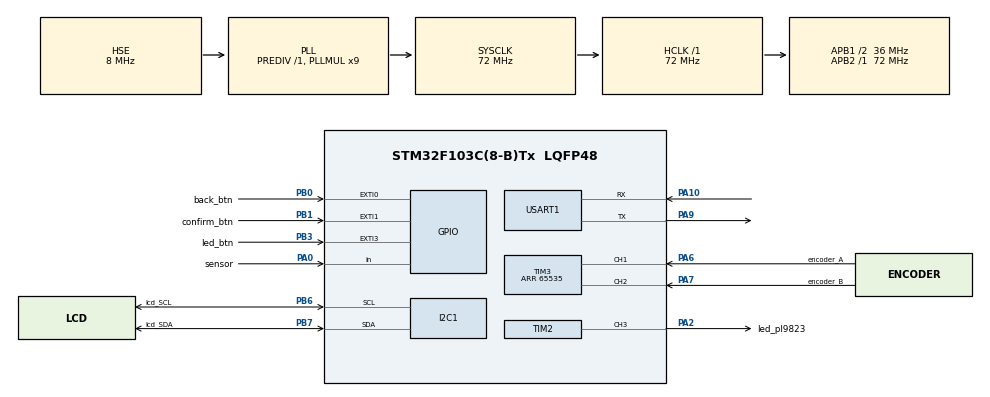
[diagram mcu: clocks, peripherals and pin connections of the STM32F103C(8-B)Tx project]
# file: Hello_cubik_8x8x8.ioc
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Dma.Request0=USART1_RX
Dma.Request1=TIM2_CH3
Dma.TIM2_CH3.1.Direction=DMA_MEMORY_TO_PERIPH
Dma.TIM2_CH3.1.Instance=DMA1_Channel1
Dma.TIM2_CH3.1.MemDataAlignment=DMA_MDATAALIGN_HALFWORD
Dma.TIM2_CH3.1.MemInc=DMA_MINC_ENABLE
Dma.TIM2_CH3.1.Mode=DMA_NORMAL
Dma.TIM2_CH3.1.PeriphDataAlignment=DMA_PDATAALIGN_HALFWORD
Dma.TIM2_CH3.1.PeriphInc=DMA_PINC_DISABLE
Dma.TIM2_CH3.1.Priority=DMA_PRIORITY_VERY_HIGH
Dma.USART1_RX.0.Direction=DMA_PERIPH_TO_MEMORY
Dma.USART1_RX.0.Instance=DMA1_Channel5
Dma.USART1_RX.0.MemDataAlignment=DMA_MDATAALIGN_BYTE
Dma.USART1_RX.0.MemInc=DMA_MINC_ENABLE
Dma.USART1_RX.0.Mode=DMA_CIRCULAR
Dma.USART1_RX.0.PeriphDataAlignment=DMA_PDATAALIGN_BYTE
Dma.USART1_RX.0.PeriphInc=DMA_PINC_DISABLE
Dma.USART1_RX.0.Priority=DMA_PRIORITY_HIGH
FREERTOS.Tasks01=defaultTask,24,128,StartDefaultTask,Default,NULL,Dynamic,NULL,NULL
I2C1.I2C_Mode=I2C_Fast
I2C1.NoStretchMode=I2C_NOSTRETCH_DISABLE
Mcu.Family=STM32F1
Mcu.Name=STM32F103C(8-B)Tx
Mcu.Package=LQFP48
NVIC.DMA1_Channel1_IRQn=true\:5\:0\:false\:false\:true\:true\:false\:true\:true
NVIC.DMA1_Channel5_IRQn=true\:5\:0\:false\:false\:true\:true\:false\:true\:true
NVIC.EXTI0_IRQn=true\:5\:0\:false\:false\:true\:true\:true\:true\:true
NVIC.EXTI1_IRQn=true\:5\:0\:false\:false\:true\:true\:true\:true\:true
NVIC.EXTI3_IRQn=true\:5\:0\:false\:false\:true\:true\:true\:true\:true
NVIC.PriorityGroup=NVIC_PRIORITYGROUP_4
NVIC.TIM1_UP_IRQn=true\:15\:0\:false\:false\:true\:false\:false\:true\:true
NVIC.TimeBase=TIM1_UP_IRQn
NVIC.TimeBaseIP=TIM1
NVIC.USART1_IRQn=true\:5\:0\:false\:false\:true\:true\:true\:true\:true
PA0-WKUP.GPIO_Label=sensor
PA0-WKUP.Signal=GPIO_Input
PA10.Mode=Asynchronous
PA10.Signal=USART1_RX
PA13.Mode=Serial_Wire
PA13.Signal=SYS_JTMS-SWDIO
PA14.Mode=Serial_Wire
PA14.Signal=SYS_JTCK-SWCLK
PA2.GPIO_Label=led_pl9823
PA2.GPIO_Speed=GPIO_SPEED_FREQ_HIGH
PA2.Signal=S_TIM2_CH3
PA6.GPIO_Label=encoder_A
PA6.Signal=S_TIM3_CH1
PA7.GPIO_Label=encoder_B
PA7.Signal=S_TIM3_CH2
PA9.Mode=Asynchronous
PA9.Signal=USART1_TX
PB0.GPIO_Label=back_btn
PB0.GPIO_ModeDefaultEXTI=GPIO_MODE_IT_FALLING
PB0.Signal=GPXTI0
PB1.GPIO_Label=confirm_btn
PB1.GPIO_ModeDefaultEXTI=GPIO_MODE_IT_FALLING
PB1.Signal=GPXTI1
PB3.GPIO_Label=led_btn
PB3.GPIO_ModeDefaultEXTI=GPIO_MODE_IT_FALLING
PB3.Signal=GPXTI3
PB6.GPIO_Label=lcd_SCL
PB6.Mode=I2C
PB6.Signal=I2C1_SCL
PB7.GPIO_Label=lcd_SDA
PB7.Mode=I2C
PB7.Signal=I2C1_SDA
PD0-OSC_IN.Mode=HSE-External-Oscillator
PD0-OSC_IN.Signal=RCC_OSC_IN
PD1-OSC_OUT.Mode=HSE-External-Oscillator
PD1-OSC_OUT.Signal=RCC_OSC_OUT
ProjectManager.HeapSize=0x200
ProjectManager.StackSize=0x400
ProjectManager.TargetToolchain=MDK-ARM V5.32
RCC.AHBFreq_Value=72000000
RCC.APB1CLKDivider=RCC_HCLK_DIV2
RCC.APB1Freq_Value=36000000
RCC.APB1TimFreq_Value=72000000
RCC.APB2Freq_Value=72000000
RCC.APB2TimFreq_Value=72000000
RCC.HCLKFreq_Value=72000000
RCC.PLLMUL=RCC_PLL_MUL9
RCC.PLLSourceVirtual=RCC_PLLSOURCE_HSE
RCC.SYSCLKFreq_VALUE=72000000
RCC.SYSCLKSource=RCC_SYSCLKSOURCE_PLLCLK
RCC.USBFreq_Value=72000000
SH.S_TIM2_CH3.0=TIM2_CH3,PWM Generation3 CH3
SH.S_TIM3_CH1.0=TIM3_CH1,Encoder_Interface
SH.S_TIM3_CH2.0=TIM3_CH2,Encoder_Interface
TIM2.AutoReloadPreload=TIM_AUTORELOAD_PRELOAD_ENABLE
TIM2.Channel-PWM\ Generation3\ CH3=TIM_CHANNEL_3
TIM2.Period=89
TIM3.EncoderMode=TIM_ENCODERMODE_TI12
TIM3.IC1Polarity=TIM_ICPOLARITY_RISING
TIM3.Period=65535
USART1.VirtualMode=VM_ASYNC
VP_FREERTOS_VS_CMSIS_V2.Mode=CMSIS_V2
VP_SYS_VS_tim1.Mode=TIM1
VP_TIM2_VS_ClockSourceINT.Mode=Internal
board=custom

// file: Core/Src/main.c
/* USER CODE BEGIN Header */
/**
  ******************************************************************************
  * @file           : main.c
  * @brief          : Main program body
  ******************************************************************************
  * @attention
  *
  * Copyright (c) 2026 STMicroelectronics.
  * All rights reserved.
  *
  * This software is licensed under terms that can be found in the LICENSE file
  * in the root directory of this software component.
  * If no LICENSE file comes with this software, it is provided AS-IS.
  *
  ******************************************************************************
  */
/* USER CODE END Header */
#include "main.h"
#include "dma.h"
#include "i2c.h"
#include "tim.h"
#include "usart.h"
#include "gpio.h"

/* USER CODE BEGIN Includes */
#include "app.h"
#include "FreeRTOS.h"
#include "defines.h"
#include "task.h"
#include "queue.h"
#include "semphr.h"
#include "timers.h"
#include "DHT22.h"
#include "PL9823.h"
#include "SH1106.h"
#include "input.h"
#include "menu_control.h"
#include "monitoring.h"
#include "data.h"
/* USER CODE END Includes */

/* USER CODE BEGIN PV */
global_system_data_t global_system_data;
/* USER CODE END PV */

void SystemClock_Config(void);
void MX_FREERTOS_Init(void);
/* USER CODE BEGIN PFP */
void sensor_task(void);
void DWT_Init(void);
void delay_us(uint32_t);
/* USER CODE END PFP */

/* USER CODE BEGIN 0 */
void uart_task(void) {
  uart_task_handler();
}

void control_task(void) {
  control_task_handler();
}

void input_task(void) {
  input_task_handler();
}

void ui_task(void) {
  ui_task_handler();
}

void lcd_task(void) {
  lcd_task_handler();
}

void sensor_task(void) {
  sensor_task_handler();
}

void monitoring_task(void) {
  monitoring_task_handler();
}
void led_task(void) {
  led_task_handler();
}
/* USER CODE END 0 */

int main(void)
{

  /* MCU Configuration--------------------------------------------------------*/

  /* Reset of all peripherals, Initializes the Flash interface and the Systick. */
  HAL_Init();

  /* Configure the system clock */
  SystemClock_Config();

  /* USER CODE BEGIN SysInit */
  DWT_Init();
  /* USER CODE END SysInit */

  /* Initialize all configured peripherals */
  MX_GPIO_Init();
  MX_DMA_Init();
  MX_USART1_UART_Init();
  MX_TIM2_Init();
  MX_TIM3_Init();
  MX_I2C1_Init();
  /* USER CODE BEGIN 2 */

  //Start encoder
  HAL_TIM_Encoder_Start(&htim3,TIM_CHANNEL_1|TIM_CHANNEL_2);
  SH1106_Init();
  SH1106_GotoXY(WELCOME_TEXT_POSITION);
  SH1106_Puts("HELLO CUBIK", &Font_11x18, 1);
  SH1106_UpdateScreen();

  // Create event group for UART TX and RX
  uart_event_group = xEventGroupCreate();
  configASSERT(uart_event_group != NULL);

  // Create queue from uart task to control task
  received_commandHandle = xQueueCreate(10, sizeof(command_packet_t));
  configASSERT(received_commandHandle != NULL);

  // Create queue form monitoring task to uart task
  transmit_Handle = xQueueCreate(10,sizeof(uart_tx_packet_t));
  configASSERT(transmit_Handle != NULL);

  // Create queue from input task to ui task
  input_Handle = xQueueCreate(50, sizeof(input_event_t));
  configASSERT(input_Handle != NULL);

  // Create queue from ui task to lcd task
  lcd_commandHandle = xQueueCreate(50, sizeof(cmd_lcd_t));
  configASSERT(lcd_commandHandle != NULL);

  // Create mutex for global system data
  global_system_mutex = xSemaphoreCreateMutex();
  configASSERT(global_system_mutex != NULL);

  //Create timer to track user interface
  go_to_home_timer = xTimerCreate(
                      "Input_Track_Timer",
                      pdMS_TO_TICKS(10000),
                      pdFALSE,
                      0,
                      goToHomePageCb);
  configASSERT(go_to_home_timer != NULL);

  // Create UART task
  BaseType_t ret;

  ret = xTaskCreate(uart_task,
                    "uart_task",
                    configMINIMAL_STACK_SIZE * 2,
                    NULL,
                    PRIORITY_HIGH,
                    &uart_task_t);
  configASSERT(ret == pdPASS);

  // Create control task
  ret = xTaskCreate(control_task,
                    "control_task",
                    configMINIMAL_STACK_SIZE,
                    NULL,
                    PRIORITY_HIGH,
                    NULL);
  configASSERT(ret == pdPASS);

  //Create input task
  ret = xTaskCreate(input_task,
                    "input_task",
                    configMINIMAL_STACK_SIZE,
                    NULL,
                    PRIORITY_MEDIUM_HIGH,
                    NULL);
  configASSERT(ret == pdPASS);

  //Creat UI task
  ret = xTaskCreate(ui_task,
                    "ui_task",
                    configMINIMAL_STACK_SIZE * 2,
                    NULL,
                    PRIORITY_MEDIUM_HIGH,
                    NULL);
  configASSERT(ret == pdPASS);

  //Create LCD task
  ret = xTaskCreate(lcd_task,
                    "lcd_task",
                    configMINIMAL_STACK_SIZE * 2,
                    NULL,
                    PRIORITY_MEDIUM,
                    &lcd_task_t);
  configASSERT(ret == pdPASS);

  // Create LED task
  ret = xTaskCreate(led_task,
                    "led_task",
                    configMINIMAL_STACK_SIZE * 2,
                    NULL,
                    PRIORITY_MEDIUM,
                    &led_task_t);
  configASSERT(ret == pdPASS);

  //Create monitoring task
 ret = xTaskCreate(monitoring_task,
                   "monitoring_task",
                   configMINIMAL_STACK_SIZE * 2,
                   NULL,
                   PRIORITY_LOW_MEDIUM,
                   NULL);
 configASSERT(ret == pdPASS);

  // Create sensor task
  ret = xTaskCreate(sensor_task,
                    "sensor_task",
                    configMINIMAL_STACK_SIZE,
                    NULL,
                    PRIORITY_LOW,
                    NULL);
  configASSERT(ret == pdPASS);

  // Start UART interrupt
  HAL_StatusTypeDef uart_ret = HAL_UART_Receive_IT(&huart1, &rx_byte, sizeof(uint8_t));
  configASSERT(uart_ret == HAL_OK);

  // Start scheduler
  vTaskStartScheduler();
  configASSERT(0);
  /* USER CODE END 2 */

  /* Init scheduler */

  /* Start scheduler */

  /* We should never get here as control is now taken by the scheduler */

  /* Infinite loop */
  while (1)
  {

  }
}

void SystemClock_Config(void)
{
  RCC_OscInitTypeDef RCC_OscInitStruct = {0};
  RCC_ClkInitTypeDef RCC_ClkInitStruct = {0};

  /** Initializes the RCC Oscillators according to the specified parameters
  * in the RCC_OscInitTypeDef structure.
  */
  RCC_OscInitStruct.OscillatorType = RCC_OSCILLATORTYPE_HSE;
  RCC_OscInitStruct.HSEState = RCC_HSE_ON;
  RCC_OscInitStruct.HSEPredivValue = RCC_HSE_PREDIV_DIV1;
  RCC_OscInitStruct.HSIState = RCC_HSI_ON;
  RCC_OscInitStruct.PLL.PLLState = RCC_PLL_ON;
  RCC_OscInitStruct.PLL.PLLSource = RCC_PLLSOURCE_HSE;
  RCC_OscInitStruct.PLL.PLLMUL = RCC_PLL_MUL9;
  if (HAL_RCC_OscConfig(&RCC_OscInitStruct) != HAL_OK)
  {
    Error_Handler();
  }

  /** Initializes the CPU, AHB and APB buses clocks
  */
  RCC_ClkInitStruct.ClockType = RCC_CLOCKTYPE_HCLK|RCC_CLOCKTYPE_SYSCLK
                              |RCC_CLOCKTYPE_PCLK1|RCC_CLOCKTYPE_PCLK2;
  RCC_ClkInitStruct.SYSCLKSource = RCC_SYSCLKSOURCE_PLLCLK;
  RCC_ClkInitStruct.AHBCLKDivider = RCC_SYSCLK_DIV1;
  RCC_ClkInitStruct.APB1CLKDivider = RCC_HCLK_DIV2;
  RCC_ClkInitStruct.APB2CLKDivider = RCC_HCLK_DIV1;

  if (HAL_RCC_ClockConfig(&RCC_ClkInitStruct, FLASH_LATENCY_2) != HAL_OK)
  {
    Error_Handler();
  }
}

/* USER CODE BEGIN 4 */
void DWT_Init(void)
{
    CoreDebug->DEMCR |= CoreDebug_DEMCR_TRCENA_Msk; // bật debug
    DWT->CYCCNT = 0;
    DWT->CTRL |= DWT_CTRL_CYCCNTENA_Msk; // bật counter
}

void delay_us(uint32_t us)
{
    uint32_t start = DWT->CYCCNT;
    uint32_t ticks = us * (SystemCoreClock / 1000000);

    while ((DWT->CYCCNT - start) < ticks);
}
/* USER CODE END 4 */

void HAL_TIM_PeriodElapsedCallback(TIM_HandleTypeDef *htim)
{
  if (htim->Instance == TIM1)
  {
    HAL_IncTick();
  }
}

void Error_Handler(void)
{
  __disable_irq();
  while (1)
  {
  }
}
